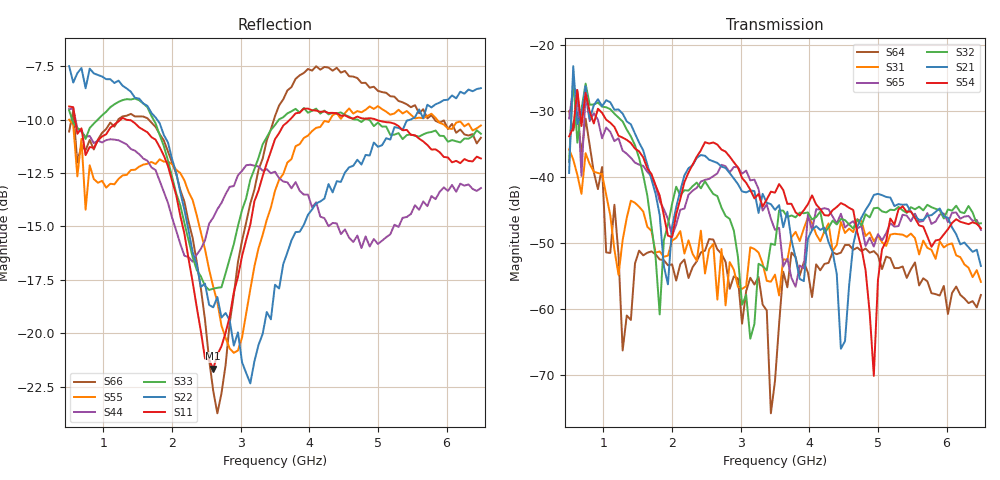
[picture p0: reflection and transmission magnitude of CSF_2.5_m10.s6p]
!Keysight Technologies,M9804A,MY58100912,A.14.10.03
!Date: Thursday, April 27, 2023 10:28:33
!Correction: S11(C  6-Port  )
!S12(C  6-Port  )
!S13(C  6-Port  )
!S14(C  6-Port  )
!S15(C  6-Port  )
!S16(C  6-Port  )
!S21(C  6-Port  )
!S22(C  6-Port  )
!S23(C  6-Port  )
!S24(C  6-Port  )
!S25(C  6-Port  )
!S26(C  6-Port  )
!S31(C  6-Port  )
!S32(C  6-Port  )
!S33(C  6-Port  )
!S34(C  6-Port  )
!S35(C  6-Port  )
!S36(C  6-Port  )
!S41(C  6-Port  )
!S42(C  6-Port  )
!S43(C  6-Port  )
!S44(C  6-Port  )
!S45(C  6-Port  )
!S46(C  6-Port  )
!S51(C  6-Port  )
!S52(C  6-Port  )
!S53(C  6-Port  )
!S54(C  6-Port  )
!S55(C  6-Port  )
!S56(C  6-Port  )
!S61(C  6-Port  )
!S62(C  6-Port  )
!S63(C  6-Port  )
!S64(C  6-Port  )
!S65(C  6-Port  )
!S66(C  6-Port  )
!S6P File: Measurement: :
# Hz S  RI  R 50
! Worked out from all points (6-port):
!   101 points, 500 MHz to 6.5 GHz, reference 50 ohm
!   strongest paths, dB at 500 MHz, 2 GHz, 3.5 GHz, 5 GHz, 6.5 GHz:
!     S54: -33.9, -49.1, -42.4, -55.6, -47.8
!     S21: -39.4, -47.6, -45.0, -42.6, -53.5
!     S32: -37.7, -44.1, -50.3, -44.7, -47.0
!     S65: -31.1, -48.9, -48.0, -48.7, -48.0
!     S31: -35.8, -49.7, -54.8, -48.9, -55.9
!     S64: -30.1, -53.3, -70.9, -51.9, -57.9
!   lowest |S11| = -21.7 dB at 2.6 GHz (marker M1), VSWR 1.18, Z = 42.6 + j1.99 ohm
!   |S11| at or under -10 dB: 588.2 MHz to 1.249 GHz (661.1 MHz wide, 72 % of centre); 1.336 GHz to 3.716 GHz (2.38 GHz wide, 94.2 % of centre); 4.973 GHz to end of sweep
